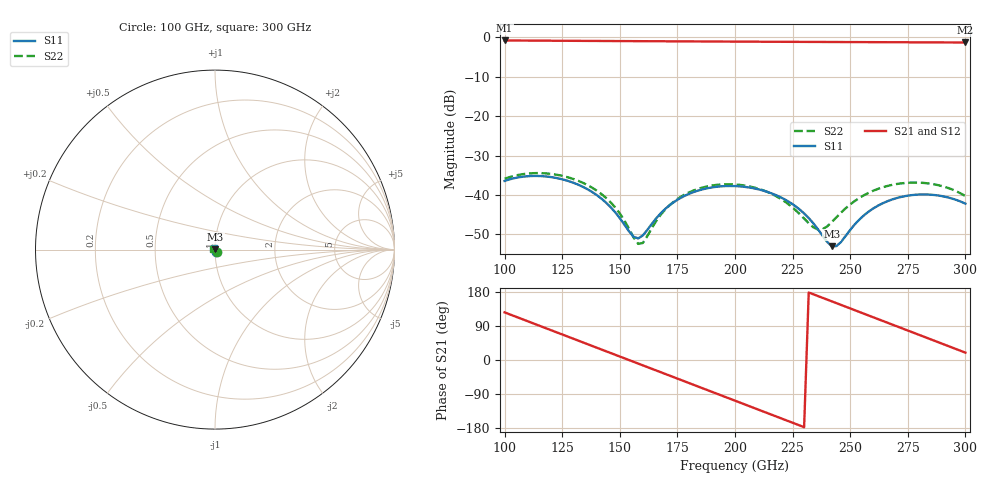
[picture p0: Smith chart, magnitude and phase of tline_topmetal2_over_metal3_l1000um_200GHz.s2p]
#  GHZ S DB R 50
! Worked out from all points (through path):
!   101 points, 100 GHz to 300 GHz, reference 50 ohm
!   highest |S21| = -0.79 dB at 100 GHz (marker M1); lowest = -1.3 dB at 300 GHz (marker M2)
!   group delay of S21, straight-line fit = 6.47 ps
!   lowest |S11| = -53.0 dB at 242 GHz (marker M3), VSWR 1.00, Z = 50.2 + j0.109 ohm
!   |S11| at or under -10 dB: start of sweep to end of sweep
!   |S22| runs from -52.4 to -34.4 dB; largest |S21 - S12| = 1e-13
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100  -36.41 -57.7  -0.79 125.6  -0.79 125.6  -35.87 -57.8
108  -35.34 -80.6  -0.81 107.0  -0.81 107.0  -34.69 -80.2
116  -35.19 -103.3  -0.84 88.4  -0.84 88.4  -34.44 -102.4
124  -35.86 -126.4  -0.86 69.7  -0.86 69.7  -35.00 -124.7
134  -37.92 -156.8  -0.89 46.4  -0.89 46.4  -36.90 -153.7
146  -43.06 159.3  -0.93 18.5  -0.93 18.5  -41.84 166.5
158  -51.00 56.1  -0.96 -9.5  -0.96 -9.5  -52.39 72.1
160  -50.24 30.1  -0.97 -14.1  -0.97 -14.1  -52.15 38.3
168  -44.48 -30.3  -0.99 -32.8  -0.99 -32.8  -44.81 -32.0
176  -40.86 -62.9  -1.01 -51.4  -1.01 -51.4  -40.61 -63.6
184  -38.86 -89.7  -1.03 -70.0  -1.03 -70.0  -38.42 -89.2
192  -37.89 -114.7  -1.06 -88.7  -1.06 -88.7  -37.42 -113.4
200  -37.72 -139.2  -1.08 -107.3  -1.08 -107.3  -37.31 -137.3
218  -40.07 164.6  -1.12 -149.3  -1.12 -149.3  -40.33 164.9
234  -47.16 101.0  -1.16 173.4  -1.16 173.4  -48.16 74.8
238  -50.30 73.4  -1.17 164.1  -1.17 164.1  -48.67 32.1
242  -52.96 28.8  -1.18 154.8  -1.18 154.8  -46.86 -5.7
246  -51.91 -23.0  -1.18 145.4  -1.18 145.4  -44.47 -32.3
256  -45.13 -89.0  -1.21 122.1  -1.21 122.1  -40.04 -75.6
268  -41.16 -133.3  -1.23 94.1  -1.23 94.1  -37.44 -114.4
282  -39.84 -178.7  -1.26 61.4  -1.26 61.4  -36.93 -155.2
300  -42.18 119.5  -1.30 19.4  -1.30 19.4  -40.27 153.6
